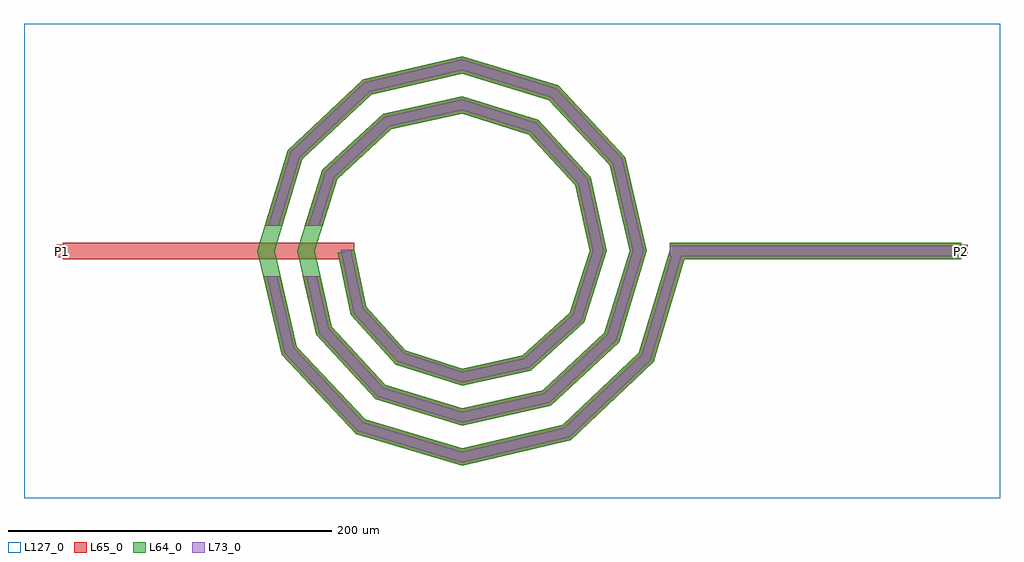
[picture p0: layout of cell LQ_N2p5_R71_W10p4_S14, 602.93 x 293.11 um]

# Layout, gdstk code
import gdstk
lib = gdstk.Library(unit=1e-6, precision=1e-09)
def R(c, l, rs):  # rectangles x0, y0, x1, y1
    for r in rs: c.add(gdstk.rectangle(r[:2], r[2:], *l))
def P(c, l, *ps):  # polygons
    for p in ps: c.add(gdstk.Polygon(p, *l))
L64_0 = (64, 0)
L65_0 = (65, 0)
L73_0 = (73, 0)
L127_0 = (127, 0)

lq_n2p5_r71_w10p4_s14 = lib.new_cell('LQ_N2p5_R71_W10p4_S14')
R(lq_n2p5_r71_w10p4_s14, L64_0, [(128.316,-5.2,308.316,5.2)])
P(lq_n2p5_r71_w10p4_s14, L64_0, [(-59.179,-34.489),(-35.04,-61.235),(0.265,-72.608),(37.555,-64.532),(66.568,-38.142),(78.777,0.245),(69.884,40.624),(41.242,71.902),(0.229,84.946),(-43.695,75.235),(-77.237,44.34),(-91.116,0.214),(-80.585,-46.768),(-47.437,-82.573),(0.201,-97.285),(49.842,-85.934),(87.91,-50.532),(103.455,0.19),(91.283,52.917),(53.626,93.248),(0.18,109.625),(-55.994,96.631),(-98.587,56.719),(-115.795,0.17),(-101.978,-59.071),(-59.811,-103.926),(0.162,-121.965),(62.149,-107.326),(109.265,-62.903),(128.534,1.491),(138.498,-1.491),(118.429,-68.556),(67.254,-116.806),(0.162,-132.727),(-65.478,-113.081),(-111.467,-64.162),(-126.557,0.17),(-107.734,62.4),(-61.069,106.127),(0.18,120.387),(59.323,102.385),(100.789,57.975),(114.216,0.19),(97.036,-56.247),(54.881,-95.45),(0.201,-108.046),(-53.172,-91.687),(-90.113,-51.785),(-101.875,0.214),(-86.336,50.099),(-48.687,84.776),(0.229,95.705),(47.027,80.985),(79.44,45.588),(89.534,0.245),(75.632,-43.956),(42.487,-74.105),(0.265,-83.363),(-40.889,-70.277),(-68.772,-39.383),(-76.902,-1.08),(-66.729,1.08)])
R(lq_n2p5_r71_w10p4_s14, L65_0, [(-246.615,-5.2,-66.615,5.2), (128.316,-5.2,308.316,5.2), (-250.615,-4,-242.615,4), (304.316,-4,312.316,4)])
P(lq_n2p5_r71_w10p4_s14, L65_0, [(-101.978,-59.071),(-59.811,-103.926),(0.162,-121.965),(62.149,-107.326),(109.265,-62.903),(128.534,1.491),(138.498,-1.491),(118.429,-68.556),(67.254,-116.806),(0.162,-132.727),(-65.478,-113.082),(-111.467,-64.162),(-122.858,-15.6),(-112.175,-15.6)],
  [(-80.585,-46.768),(-47.437,-82.573),(0.201,-97.285),(49.842,-85.934),(87.91,-50.532),(103.455,0.19),(91.283,52.917),(53.626,93.248),(0.18,109.625),(-55.994,96.631),(-98.587,56.719),(-111.024,15.6),(-121.89,15.6),(-107.734,62.4),(-61.069,106.127),(0.18,120.387),(59.323,102.385),(100.789,57.975),(114.216,0.19),(97.036,-56.247),(54.881,-95.45),(0.201,-108.046),(-53.172,-91.687),(-90.113,-51.785),(-98.298,-15.6),(-87.635,-15.6)],
  [(-35.04,-61.235),(0.265,-72.608),(37.555,-64.532),(66.568,-38.142),(78.777,0.245),(69.884,40.624),(41.242,71.902),(0.229,84.946),(-43.695,75.235),(-77.237,44.34),(-86.19,15.6),(-97.083,15.6),(-86.336,50.099),(-48.687,84.776),(0.229,95.705),(47.027,80.985),(79.44,45.588),(89.534,0.245),(75.632,-43.956),(42.487,-74.105),(0.265,-83.363),(-40.889,-70.277),(-68.772,-39.383),(-76.902,-1.08),(-66.729,1.08),(-59.179,-34.489)])
R(lq_n2p5_r71_w10p4_s14, L73_0, [(128.316,-3.2,308.316,3.2)])
P(lq_n2p5_r71_w10p4_s14, L73_0, [(-103.803,-60.05),(-60.901,-105.687),(0.1,-124.034),(63.131,-109.149),(111.027,-63.99),(130.45,0.917),(136.582,0.917),(116.667,-67.469),(66.272,-114.983),(0.1,-130.658),(-64.388,-111.321),(-109.642,-63.183),(-120.803,-15.6),(-114.23,-15.6)],
  [(-82.417,-47.732),(-48.54,-84.326),(0.124,-99.355),(50.811,-87.764),(89.665,-51.631),(105.525,0.117),(93.111,53.89),(54.722,95.005),(0.111,111.695),(-56.97,98.457),(-100.346,57.812),(-113.114,15.6),(-119.8,15.6),(-105.975,61.308),(-60.093,104.301),(0.111,118.317),(58.228,100.628),(98.961,57.003),(112.147,0.117),(95.281,-55.148),(53.912,-93.62),(0.124,-105.977),(-52.069,-89.934),(-88.28,-50.82),(-96.248,-15.6),(-89.686,-15.6)],
  [(-36.165,-62.974),(0.163,-74.676),(38.504,-66.373),(68.311,-39.261),(80.846,0.151),(71.722,41.579),(42.355,73.648),(0.141,87.015),(-44.655,77.07),(-78.987,45.448),(-88.285,15.6),(-94.988,15.6),(-84.586,48.991),(-47.727,82.941),(0.141,93.636),(45.914,79.238),(77.602,44.634),(87.465,0.151),(73.889,-42.838),(41.538,-72.264),(0.163,-81.295),(-39.764,-68.539),(-66.927,-38.442),(-74.946,0.664),(-68.685,0.664),(-61.023,-35.43)])
R(lq_n2p5_r71_w10p4_s14, L127_0, [(-270.615,-152.727,332.316,140.387)])
lq_n2p5_r71_w10p4_s14.add(gdstk.Label('P2', (308.316,0), layer=65, texttype=0))
lq_n2p5_r71_w10p4_s14.add(gdstk.Label('P1', (-246.615,0), layer=65, texttype=0))
lq_n2p5_r71_w10p4_s14.add(gdstk.Label('P2', (312.316,0), layer=145, texttype=0))
lq_n2p5_r71_w10p4_s14.add(gdstk.Label('P1', (-250.615,0), layer=145, texttype=0))

lib.write_gds('LQ_N2p5_R71_W10p4_S14.gds')
